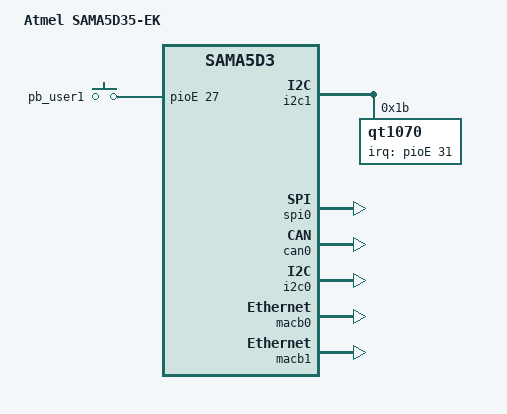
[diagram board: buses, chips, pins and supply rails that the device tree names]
/*
 * sama5d35ek.dts - Device Tree file for SAMA5D35-EK board
 *
 *  Copyright (C) 2013 Atmel,
 *                2013 Ludovic Desroches <ludovic.desroches@atmel.com>
 *
 * Licensed under GPLv2 or later.
 */
/dts-v1/;
#include "sama5d3xmb.dtsi"

/ {
	model = "Atmel SAMA5D35-EK";
	compatible = "atmel,sama5d35ek", "atmel,sama5d3xmb", "atmel,sama5d3xcm", "atmel,sama5d3", "atmel,sama5";

	ahb {
		apb {
			i2c1: i2c@f0018000 {
				qt1070: keyboard@1b {
					compatible = "qt1070";
					reg = <0x1b>;
					interrupt-parent = <&pioE>;
					interrupts = <31 0x0>;
					pinctrl-names = "default";
					pinctrl-0 = <&pinctrl_qt1070_irq>;
					wakeup-source;
				};
			};

			spi0: spi@f0004000 {
				status = "okay";
			};

			ssc0: ssc@f0008000 {
				status = "okay";
			};

			can0: can@f000c000 {
				status = "okay";
			};

			i2c0: i2c@f0014000 {
				status = "okay";
			};

			i2c1: i2c@f0018000 {
				status = "okay";
			};

			macb0: ethernet@f0028000 {
				status = "okay";
			};

			macb1: ethernet@f802c000 {
				status = "okay";
			};

			pinctrl@fffff200 {
				board {
					pinctrl_key_gpio: key_gpio_0 {
						atmel,pins = <AT91_PIOE 27 AT91_PERIPH_GPIO AT91_PINCTRL_NONE>; /* PE27 gpio */
					};

					pinctrl_qt1070_irq: qt1070_irq {
						atmel,pins =
							<AT91_PIOE 31 AT91_PERIPH_GPIO AT91_PINCTRL_PULL_UP_DEGLITCH>; /* PE31 GPIO with pull up deglith */
					};
				};
			};
		};
	};

	sound {
		status = "okay";
	};

	gpio_keys {
		compatible = "gpio-keys";
		#address-cells = <1>;
		#size-cells = <0>;

		pb_user1 {
			label = "pb_user1";
			gpios = <&pioE 27 GPIO_ACTIVE_HIGH>;
			linux,code = <0x100>;
			gpio-key,wakeup;
			pinctrl-names = "default";
			pinctrl-0 = <&pinctrl_key_gpio>;
		};
	};
};

/include/ "sama5d3xmb_isi.dtsi"
